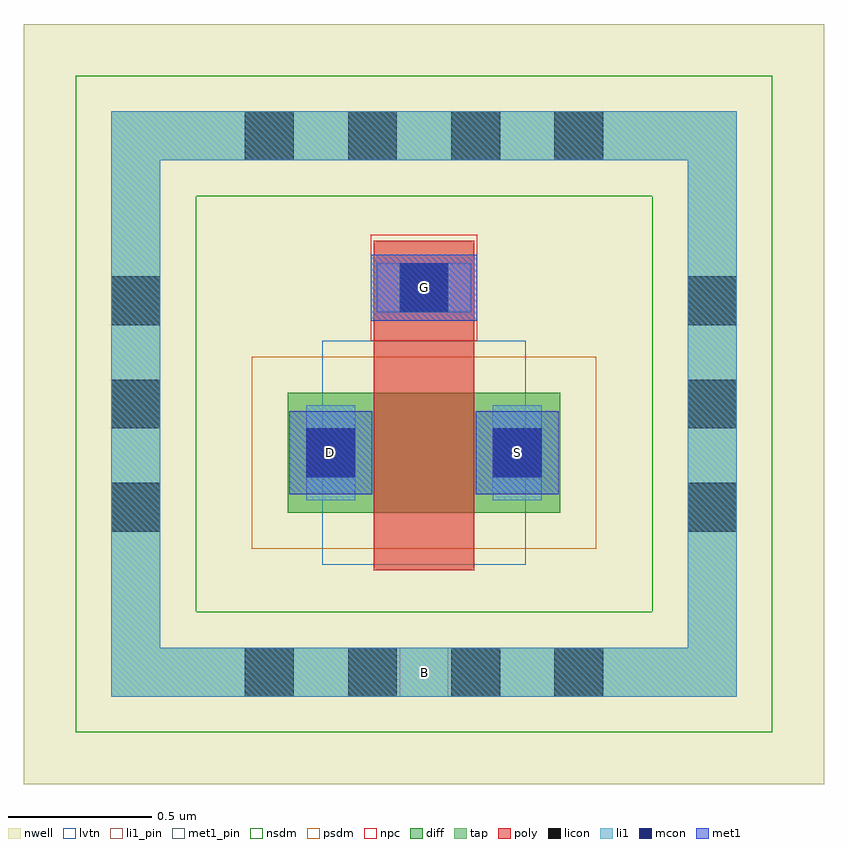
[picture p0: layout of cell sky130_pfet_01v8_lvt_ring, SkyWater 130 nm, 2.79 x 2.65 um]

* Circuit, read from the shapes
.subckt sky130_pfet_01v8_lvt_ring B D G S
XM1 S G D B sky130_fd_pr__pfet_01v8_lvt w=0.42 l=0.35
.ends

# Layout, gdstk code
import gdstk
lib = gdstk.Library(unit=1e-6, precision=1e-09)
def R(c, l, rs):  # rectangles x0, y0, x1, y1
    for r in rs: c.add(gdstk.rectangle(r[:2], r[2:], *l))
def A(c, l, x, y, w, h, nx, ny, dx, dy):  # array of equal rectangles
    R(c, l, [(x+i*dx, y+j*dy, x+i*dx+w, y+j*dy+h) for i in range(nx) for j in range(ny)])
def P(c, l, *ps):  # polygons
    for p in ps: c.add(gdstk.Polygon(p, *l))
nwell = (64, 20)
diff = (65, 20)
tap = (65, 44)
poly = (66, 20)
licon = (66, 44)
li1_pin = (67, 16)
li1 = (67, 20)
mcon = (67, 44)
met1_pin = (68, 16)
met1 = (68, 20)
nsdm = (93, 44)
psdm = (94, 20)
npc = (95, 20)
lvtn = (125, 44)

pfet = lib.new_cell('pfet')
R(pfet, nwell, [(-0.92,-0.945,1.87,1.705)])
R(pfet, diff, [(0,0,0.95,0.42)])
P(pfet, tap, [(-0.615,-0.64),(-0.615,1.23),(-0.445,1.23),(-0.445,-0.47),(1.395,-0.47),(1.395,1.23),(-0.615,1.23),(-0.615,1.4),(1.565,1.4),(1.565,-0.64)])
R(pfet, poly, [(0.3,-0.2,0.65,0.62), (0.3,0.62,0.65,0.95)])
A(pfet, licon, -0.15, -0.64, 0.17, 0.17, 4, 2, 0.36, 1.87)
A(pfet, licon, -0.615, -0.065, 0.17, 0.17, 1, 3, 0, 0.36)
A(pfet, licon, 1.395, -0.065, 0.17, 0.17, 1, 3, 0, 0.36)
R(pfet, licon, [(0.065,0.125,0.235,0.295), (0.715,0.125,0.885,0.295), (0.39,0.7,0.56,0.87)])
R(pfet, li1, [(0.065,0.045,0.235,0.375), (0.715,0.045,0.885,0.375), (0.31,0.7,0.64,0.87)])
P(pfet, li1, [(-0.615,-0.64),(-0.615,1.23),(-0.445,1.23),(-0.445,-0.47),(1.395,-0.47),(1.395,1.23),(-0.615,1.23),(-0.615,1.4),(1.565,1.4),(1.565,-0.64)])
R(pfet, mcon, [(0.065,0.125,0.235,0.295), (0.715,0.125,0.885,0.295), (0.39,0.7,0.56,0.87)])
R(pfet, met1, [(0.005,0.065,0.295,0.355), (0.655,0.065,0.945,0.355), (0.29,0.67,0.66,0.9)])
P(pfet, nsdm, [(-0.74,-0.765),(-0.74,1.105),(-0.32,1.105),(-0.32,-0.345),(1.27,-0.345),(1.27,1.105),(-0.74,1.105),(-0.74,1.525),(1.69,1.525),(1.69,-0.765)])
R(pfet, psdm, [(-0.125,-0.125,1.075,0.545)])
R(pfet, npc, [(0.29,0.61,0.66,0.96)])
R(pfet, lvtn, [(0.12,-0.18,0.83,0.6)])

sky130_pfet_01v8_lvt_rin = lib.new_cell('sky130_pfet_01v8_lvt_ring')
R(sky130_pfet_01v8_lvt_rin, li1_pin, [(0.39,-0.64,0.56,-0.47)])
R(sky130_pfet_01v8_lvt_rin, met1_pin, [(0.065,0.125,0.235,0.295), (0.715,0.125,0.885,0.295), (0.39,0.7,0.56,0.87)])
R(sky130_pfet_01v8_lvt_rin, npc, [(0.29,0.6,0.66,0.97)])
sky130_pfet_01v8_lvt_rin.add(gdstk.Reference(pfet, (0,0)))
sky130_pfet_01v8_lvt_rin.add(gdstk.Label('D', (0.15,0.21), layer=68, texttype=5))
sky130_pfet_01v8_lvt_rin.add(gdstk.Label('S', (0.8,0.21), layer=68, texttype=5))
sky130_pfet_01v8_lvt_rin.add(gdstk.Label('G', (0.475,0.785), layer=68, texttype=5))
sky130_pfet_01v8_lvt_rin.add(gdstk.Label('B', (0.475,-0.555), layer=67, texttype=5))

lib.write_gds('sky130_pfet_01v8_lvt_ring.gds')
